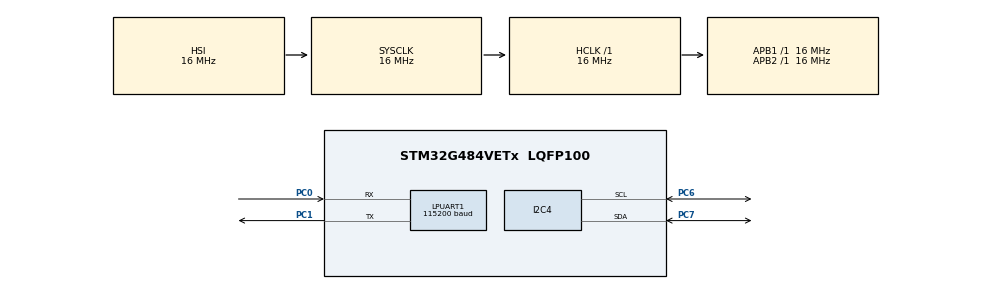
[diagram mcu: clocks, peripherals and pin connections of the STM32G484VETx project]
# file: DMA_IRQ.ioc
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Dma.I2C4_RX.0.Direction=DMA_PERIPH_TO_MEMORY
Dma.I2C4_RX.0.EventEnable=DISABLE
Dma.I2C4_RX.0.Instance=DMA1_Channel1
Dma.I2C4_RX.0.MemDataAlignment=DMA_MDATAALIGN_BYTE
Dma.I2C4_RX.0.MemInc=DMA_MINC_ENABLE
Dma.I2C4_RX.0.Mode=DMA_NORMAL
Dma.I2C4_RX.0.PeriphDataAlignment=DMA_PDATAALIGN_BYTE
Dma.I2C4_RX.0.PeriphInc=DMA_PINC_DISABLE
Dma.I2C4_RX.0.Polarity=HAL_DMAMUX_REQ_GEN_RISING
Dma.I2C4_RX.0.Priority=DMA_PRIORITY_LOW
Dma.I2C4_RX.0.RequestNumber=1
Dma.I2C4_RX.0.SignalID=NONE
Dma.I2C4_RX.0.SyncEnable=DISABLE
Dma.I2C4_RX.0.SyncPolarity=HAL_DMAMUX_SYNC_NO_EVENT
Dma.I2C4_RX.0.SyncRequestNumber=1
Dma.I2C4_RX.0.SyncSignalID=NONE
Dma.Request0=I2C4_RX
LPUART1.BaudRate=115200
Mcu.Family=STM32G4
Mcu.Name=STM32G484VETx
Mcu.Package=LQFP100
NVIC.DMA1_Channel1_IRQn=true\:0\:0\:false\:false\:true\:false\:true\:true
NVIC.I2C4_EV_IRQn=true\:0\:0\:false\:false\:true\:true\:true\:true
NVIC.PriorityGroup=NVIC_PRIORITYGROUP_4
PC0.Mode=Asynchronous
PC0.Signal=LPUART1_RX
PC1.Mode=Asynchronous
PC1.Signal=LPUART1_TX
PC6.Mode=I2C
PC6.Signal=I2C4_SCL
PC7.Mode=I2C
PC7.Signal=I2C4_SDA
ProjectManager.HeapSize=0x200
ProjectManager.StackSize=0x400
ProjectManager.TargetToolchain=STM32CubeIDE
RCC.AHBFreq_Value=16000000
RCC.APB1Freq_Value=16000000
RCC.APB1TimFreq_Value=16000000
RCC.APB2Freq_Value=16000000
RCC.APB2TimFreq_Value=16000000
RCC.CortexFreq_Value=16000000
RCC.EXTERNAL_CLOCK_VALUE=12288000
RCC.HCLKFreq_Value=16000000
RCC.HSE_VALUE=8000000
RCC.HSI48_VALUE=48000000
RCC.HSI_VALUE=16000000
RCC.LSE_VALUE=32768
RCC.SYSCLKFreq_VALUE=16000000
RCC.USBFreq_Value=64000000
RCC.VCOOutputFreq_Value=128000000
VP_SYS_VS_DBSignals.Mode=DisableDeadBatterySignals
board=custom

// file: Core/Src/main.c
/* USER CODE BEGIN Header */
/**
  ******************************************************************************
  * @file           : main.c
  * @brief          : Main program body
  ******************************************************************************
  * @attention
  *
  * Copyright (c) 2024 STMicroelectronics.
  * All rights reserved.
  *
  * This software is licensed under terms that can be found in the LICENSE file
  * in the root directory of this software component.
  * If no LICENSE file comes with this software, it is provided AS-IS.
  *
  ******************************************************************************
  */
/* USER CODE END Header */
#include "main.h"
#include "sht3x.h"

I2C_HandleTypeDef hi2c4;
DMA_HandleTypeDef hdma_i2c4_rx;

UART_HandleTypeDef hlpuart1;

void SystemClock_Config(void);
static void MX_GPIO_Init(void);
static void MX_DMA_Init(void);
static void MX_I2C4_Init(void);
static void MX_LPUART1_UART_Init(void);

/* USER CODE BEGIN 0 */
int __io_putchar(int ch)
{
  if (HAL_UART_Transmit(&hlpuart1, (uint8_t*)&ch, 1, 0xFFFF) != 0)
    return -1;
  return ch;
}

uint32_t i2c_read(uint8_t dev_addr, uint16_t mem_addr, uint16_t mem_size, uint8_t* data, uint16_t size, uint32_t timeout)
{
  if (HAL_I2C_Mem_Read(&hi2c4, (uint16_t)(dev_addr << 1) | 0x01, mem_addr, mem_size, data, size, timeout) != HAL_OK) {
    return -1;
  }
  return 0;
}

uint32_t i2c_read_dma(uint8_t dev_addr, uint16_t mem_addr, uint16_t mem_size, uint8_t* data, uint16_t size)
{
  if (HAL_I2C_Mem_Read_DMA(&hi2c4, (uint16_t)(dev_addr << 1) | 0x01, mem_addr, mem_size, data, size) != HAL_OK) {
    return -1;
  }
  return 0;
}

uint32_t i2c_write(uint8_t dev_addr, uint16_t mem_addr, uint16_t mem_size, uint8_t* data, uint16_t size, uint32_t timeout)
{
  if (HAL_I2C_Mem_Write(&hi2c4, (uint16_t)(dev_addr << 1), mem_addr, mem_size, data, size, timeout) != HAL_OK) {
    return -1;
  }
  return 0;
}

void HAL_I2C_MemRxCpltCallback(I2C_HandleTypeDef* hi2c)
{
  if (hi2c->Instance == I2C4) {
    sht3x_rx_callback();
  }
}

/* USER CODE END 0 */

int main(void)
{

  /* MCU Configuration--------------------------------------------------------*/

  /* Reset of all peripherals, Initializes the Flash interface and the Systick. */
  HAL_Init();

  /* Configure the system clock */
  SystemClock_Config();

  /* Initialize all configured peripherals */
  MX_GPIO_Init();
  MX_DMA_Init();
  MX_I2C4_Init();
  MX_LPUART1_UART_Init();

  /* Infinite loop */
  while (1)
  {

  }
}

void SystemClock_Config(void)
{
  RCC_OscInitTypeDef RCC_OscInitStruct = {0};
  RCC_ClkInitTypeDef RCC_ClkInitStruct = {0};

  /** Configure the main internal regulator output voltage
  */
  HAL_PWREx_ControlVoltageScaling(PWR_REGULATOR_VOLTAGE_SCALE1);

  /** Initializes the RCC Oscillators according to the specified parameters
  * in the RCC_OscInitTypeDef structure.
  */
  RCC_OscInitStruct.OscillatorType = RCC_OSCILLATORTYPE_HSI;
  RCC_OscInitStruct.HSIState = RCC_HSI_ON;
  RCC_OscInitStruct.HSICalibrationValue = RCC_HSICALIBRATION_DEFAULT;
  RCC_OscInitStruct.PLL.PLLState = RCC_PLL_NONE;
  if (HAL_RCC_OscConfig(&RCC_OscInitStruct) != HAL_OK)
  {
    Error_Handler();
  }

  /** Initializes the CPU, AHB and APB buses clocks
  */
  RCC_ClkInitStruct.ClockType = RCC_CLOCKTYPE_HCLK|RCC_CLOCKTYPE_SYSCLK
                              |RCC_CLOCKTYPE_PCLK1|RCC_CLOCKTYPE_PCLK2;
  RCC_ClkInitStruct.SYSCLKSource = RCC_SYSCLKSOURCE_HSI;
  RCC_ClkInitStruct.AHBCLKDivider = RCC_SYSCLK_DIV1;
  RCC_ClkInitStruct.APB1CLKDivider = RCC_HCLK_DIV1;
  RCC_ClkInitStruct.APB2CLKDivider = RCC_HCLK_DIV1;

  if (HAL_RCC_ClockConfig(&RCC_ClkInitStruct, FLASH_LATENCY_0) != HAL_OK)
  {
    Error_Handler();
  }
}

static void MX_I2C4_Init(void)
{

  hi2c4.Instance = I2C4;
  hi2c4.Init.Timing = 0x00303D5B;
  hi2c4.Init.OwnAddress1 = 0;
  hi2c4.Init.AddressingMode = I2C_ADDRESSINGMODE_7BIT;
  hi2c4.Init.DualAddressMode = I2C_DUALADDRESS_DISABLE;
  hi2c4.Init.OwnAddress2 = 0;
  hi2c4.Init.OwnAddress2Masks = I2C_OA2_NOMASK;
  hi2c4.Init.GeneralCallMode = I2C_GENERALCALL_DISABLE;
  hi2c4.Init.NoStretchMode = I2C_NOSTRETCH_DISABLE;
  if (HAL_I2C_Init(&hi2c4) != HAL_OK)
  {
    Error_Handler();
  }

  /** Configure Analogue filter
  */
  if (HAL_I2CEx_ConfigAnalogFilter(&hi2c4, I2C_ANALOGFILTER_ENABLE) != HAL_OK)
  {
    Error_Handler();
  }

  /** Configure Digital filter
  */
  if (HAL_I2CEx_ConfigDigitalFilter(&hi2c4, 0) != HAL_OK)
  {
    Error_Handler();
  }

}

static void MX_LPUART1_UART_Init(void)
{

  hlpuart1.Instance = LPUART1;
  hlpuart1.Init.BaudRate = 115200;
  hlpuart1.Init.WordLength = UART_WORDLENGTH_8B;
  hlpuart1.Init.StopBits = UART_STOPBITS_1;
  hlpuart1.Init.Parity = UART_PARITY_NONE;
  hlpuart1.Init.Mode = UART_MODE_TX_RX;
  hlpuart1.Init.HwFlowCtl = UART_HWCONTROL_NONE;
  hlpuart1.Init.OneBitSampling = UART_ONE_BIT_SAMPLE_DISABLE;
  hlpuart1.Init.ClockPrescaler = UART_PRESCALER_DIV1;
  hlpuart1.AdvancedInit.AdvFeatureInit = UART_ADVFEATURE_NO_INIT;
  if (HAL_UART_Init(&hlpuart1) != HAL_OK)
  {
    Error_Handler();
  }
  if (HAL_UARTEx_SetTxFifoThreshold(&hlpuart1, UART_TXFIFO_THRESHOLD_1_8) != HAL_OK)
  {
    Error_Handler();
  }
  if (HAL_UARTEx_SetRxFifoThreshold(&hlpuart1, UART_RXFIFO_THRESHOLD_1_8) != HAL_OK)
  {
    Error_Handler();
  }
  if (HAL_UARTEx_DisableFifoMode(&hlpuart1) != HAL_OK)
  {
    Error_Handler();
  }

}

static void MX_DMA_Init(void)
{

  /* DMA controller clock enable */
  __HAL_RCC_DMAMUX1_CLK_ENABLE();
  __HAL_RCC_DMA1_CLK_ENABLE();

  /* DMA interrupt init */
  /* DMA1_Channel1_IRQn interrupt configuration */
  HAL_NVIC_SetPriority(DMA1_Channel1_IRQn, 0, 0);
  HAL_NVIC_EnableIRQ(DMA1_Channel1_IRQn);

}

static void MX_GPIO_Init(void)
{

  /* GPIO Ports Clock Enable */
  __HAL_RCC_GPIOC_CLK_ENABLE();

}

void Error_Handler(void)
{
  __disable_irq();
  while (1)
  {
  }
}
